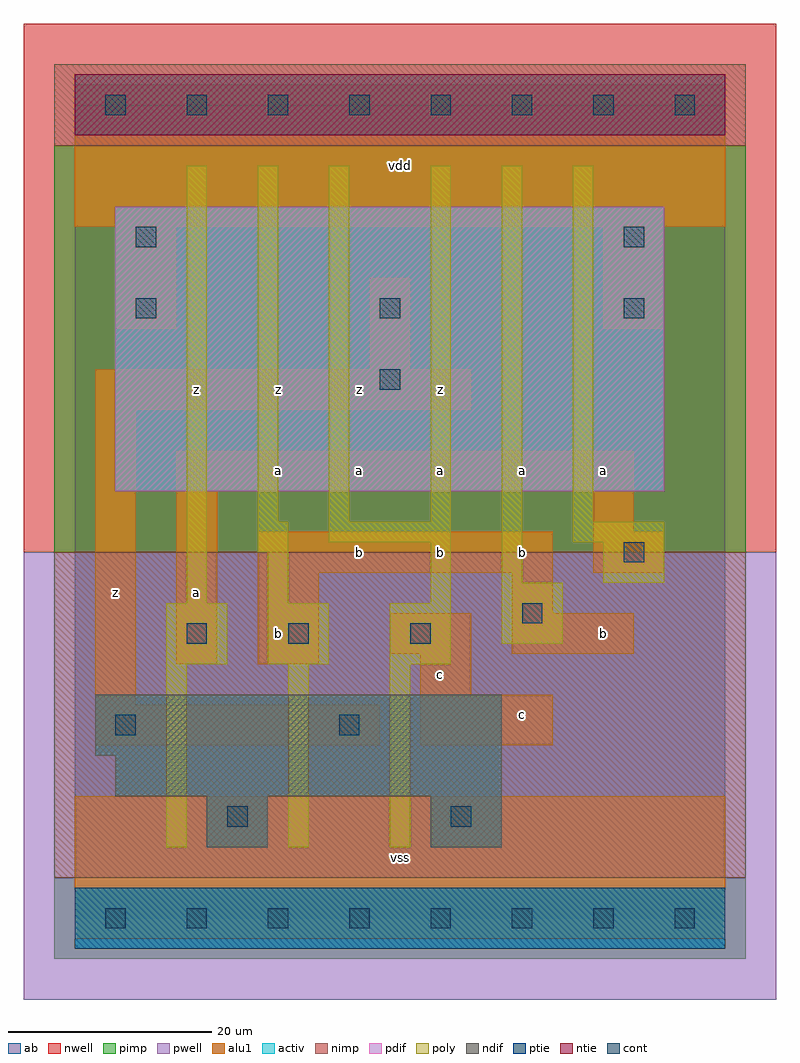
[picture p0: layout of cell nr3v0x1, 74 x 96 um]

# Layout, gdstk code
import gdstk
lib = gdstk.Library(unit=1e-6, precision=1e-09)
def R(c, l, rs):  # rectangles x0, y0, x1, y1
    for r in rs: c.add(gdstk.rectangle(r[:2], r[2:], *l))
def A(c, l, x, y, w, h, nx, ny, dx, dy):  # array of equal rectangles
    R(c, l, [(x+i*dx, y+j*dy, x+i*dx+w, y+j*dy+h) for i in range(nx) for j in range(ny)])
ndif = (3, 0)
pdif = (4, 0)
ntie = (5, 0)
ptie = (6, 0)
cont = (25, 0)
pwell = (41, 0)
nwell = (42, 0)
activ = (43, 0)
pimp = (44, 0)
nimp = (45, 0)
poly = (46, 0)
alu1 = (49, 0)
ab = (63, 0)

nr3v0x1 = lib.new_cell('nr3v0x1')
R(nr3v0x1, ndif, [(13,7,19,12), (35,7,42,12), (4,12,42,16), (2,16,42,22)])
R(nr3v0x1, pdif, [(4,42,58,70)])
R(nr3v0x1, ntie, [(0,77,64,83)])
R(nr3v0x1, ptie, [(0,-3,64,3)])
A(nr3v0x1, cont, 3, -1, 2, 2, 8, 2, 8, 80)
A(nr3v0x1, cont, 6, 59, 2, 2, 3, 1, 24, 0)
R(nr3v0x1, cont, [(15,9,17,11), (37,9,39,11), (4,18,6,20), (26,18,28,20), (11,27,13,29), (21,27,23,29), (33,27,35,29), (44,29,46,31), (54,35,56,37), (30,52,32,54), (6,66,8,68), (54,66,56,68)])
R(nr3v0x1, pwell, [(-5,-8,69,36)])
R(nr3v0x1, nwell, [(-5,36,69,88)])
R(nr3v0x1, activ, [(0,-3,64,3), (13,7,19,12), (35,7,42,12), (4,12,42,16), (2,16,42,22), (4,42,58,70), (0,77,64,83)])
R(nr3v0x1, pimp, [(-2,-4,66,4), (-2,36,66,76)])
R(nr3v0x1, nimp, [(-2,4,66,36), (-2,76,66,84)])
R(nr3v0x1, poly, [(9,7,11,25), (21,7,23,25), (31,7,33,25), (9,25,15,31), (19,25,25,31), (31,25,37,31), (42,27,48,33), (11,31,13,74), (19,31,21,36), (35,31,37,37), (42,33,44,74), (52,33,58,37), (18,36,21,39), (25,37,37,39), (49,37,58,39), (18,39,20,74), (25,39,27,74), (35,39,37,74), (49,39,51,74)])
R(nr3v0x1, alu1, [(0,-2,64,12), (2,17,30,21), (34,17,47,22), (2,21,6,50), (34,22,39,26), (10,25,14,42), (18,25,24,34), (31,26,39,30), (43,26,55,30), (43,30,47,34), (18,34,47,38), (51,34,58,38), (51,38,55,42), (10,42,55,46), (2,50,39,54), (29,54,33,63), (4,58,10,68), (52,58,58,68), (0,68,64,82)])
R(nr3v0x1, ab, [(0,0,64,80)])
nr3v0x1.add(gdstk.Label('a', (12,32), layer=49, texttype=0))
nr3v0x1.add(gdstk.Label('z', (4,32), layer=49, texttype=0))
nr3v0x1.add(gdstk.Label('z', (12,52), layer=49, texttype=0))
nr3v0x1.add(gdstk.Label('b', (28,36), layer=49, texttype=0))
nr3v0x1.add(gdstk.Label('b', (20,28), layer=49, texttype=0))
nr3v0x1.add(gdstk.Label('a', (20,44), layer=49, texttype=0))
nr3v0x1.add(gdstk.Label('a', (28,44), layer=49, texttype=0))
nr3v0x1.add(gdstk.Label('z', (28,52), layer=49, texttype=0))
nr3v0x1.add(gdstk.Label('z', (20,52), layer=49, texttype=0))
nr3v0x1.add(gdstk.Label('vss', (32,6), layer=49, texttype=0))
nr3v0x1.add(gdstk.Label('c', (44,20), layer=49, texttype=0))
nr3v0x1.add(gdstk.Label('c', (36,24), layer=49, texttype=0))
nr3v0x1.add(gdstk.Label('b', (36,36), layer=49, texttype=0))
nr3v0x1.add(gdstk.Label('b', (44,36), layer=49, texttype=0))
nr3v0x1.add(gdstk.Label('a', (44,44), layer=49, texttype=0))
nr3v0x1.add(gdstk.Label('a', (36,44), layer=49, texttype=0))
nr3v0x1.add(gdstk.Label('z', (36,52), layer=49, texttype=0))
nr3v0x1.add(gdstk.Label('vdd', (32,74), layer=49, texttype=0))
nr3v0x1.add(gdstk.Label('b', (52,28), layer=49, texttype=0))
nr3v0x1.add(gdstk.Label('a', (52,44), layer=49, texttype=0))

lib.write_gds('nr3v0x1.gds')
